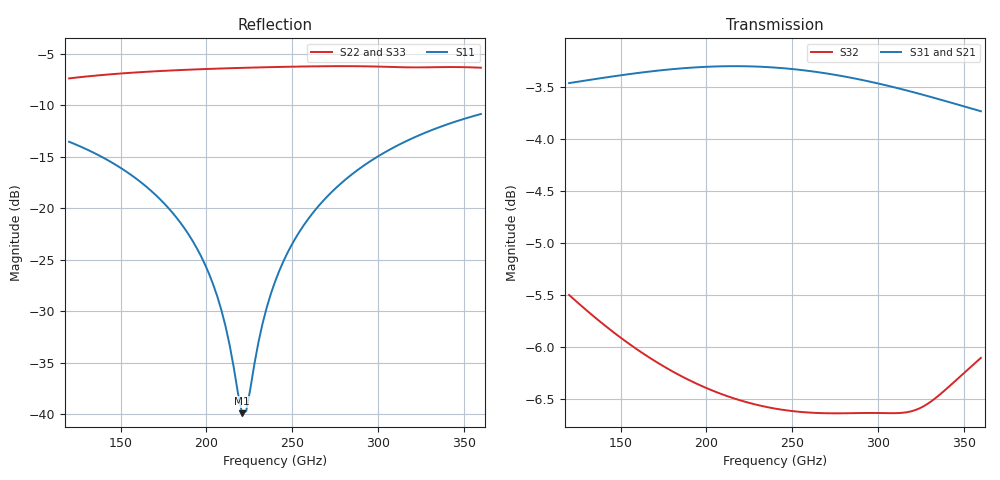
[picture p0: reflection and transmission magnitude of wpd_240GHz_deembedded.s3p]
! Created with skrf 2.0.1 (http://scikit-rf.org).
# GHz S DB R 50.0
!freq dBS11 angS11 dBS12 angS12 dBS13 angS13
! dBS21 angS21 dBS22 angS22 dBS23 angS23
! dBS31 angS31 dBS32 angS32 dBS33 angS33
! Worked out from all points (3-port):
!   101 points, 120 GHz to 360 GHz, reference 50 ohm
!   strongest paths, dB at 120 GHz, 180 GHz, 240 GHz, 300 GHz, 360 GHz:
!     S31: -3.5, -3.3, -3.3, -3.5, -3.7
!     S21: -3.5, -3.3, -3.3, -3.5, -3.7
!     S32: -5.5, -6.2, -6.6, -6.6, -6.1
!   lowest |S11| = -39.9 dB at 220.8 GHz (marker M1), VSWR 1.02, Z = 49 - j0.141 ohm
!   |S11| at or under -10 dB: start of sweep to end of sweep
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120  -13.54 145.4  -3.46 -41.4  -3.46 -41.4
     -3.46 -41.4  -7.38 54.7  -5.50 -97.6
     -3.46 -41.4  -5.50 -97.6  -7.38 54.7
160.8  -17.33 134.6  -3.36 -56.2  -3.36 -56.2
       -3.36 -56.2  -6.79 32.5  -6.03 -126.6
       -3.36 -56.2  -6.03 -126.6  -6.78 32.5
189.6  -22.52 129.1  -3.32 -66.9  -3.32 -66.9
       -3.32 -66.9  -6.54 19.5  -6.31 -146.5
       -3.32 -66.9  -6.31 -146.5  -6.54 19.5
206.4  -28.57 131.6  -3.30 -73.2  -3.30 -73.2
       -3.30 -73.2  -6.43 12.6  -6.43 -157.9
       -3.30 -73.2  -6.43 -157.9  -6.43 12.5
220.8  -39.90 -171.9  -3.30 -78.6  -3.30 -78.6
       -3.30 -78.6  -6.36 6.9  -6.52 -167.7
       -3.30 -78.6  -6.52 -167.7  -6.36 6.8
223.2  -39.69 -140.6  -3.30 -79.5  -3.30 -79.5
       -3.30 -79.5  -6.35 5.9  -6.53 -169.3
       -3.30 -79.5  -6.53 -169.3  -6.35 5.9
240  -27.13 -87.2  -3.31 -85.8  -3.31 -85.9
     -3.31 -85.8  -6.28 -0.5  -6.59 179.3
     -3.31 -85.9  -6.59 179.3  -6.28 -0.6
256.8  -21.63 -86.3  -3.34 -92.2  -3.34 -92.2
       -3.34 -92.2  -6.23 -7.0  -6.62 168.0
       -3.34 -92.2  -6.62 168.0  -6.23 -7.0
283.2  -16.91 -91.7  -3.41 -102.1  -3.41 -102.1
       -3.41 -102.1  -6.20 -17.2  -6.63 150.1
       -3.41 -102.1  -6.63 150.1  -6.20 -17.3
360  -10.84 -112.5  -3.73 -130.0  -3.73 -130.1
     -3.73 -130.0  -6.35 -49.8  -6.10 98.8
     -3.73 -130.1  -6.10 98.8  -6.34 -50.0
